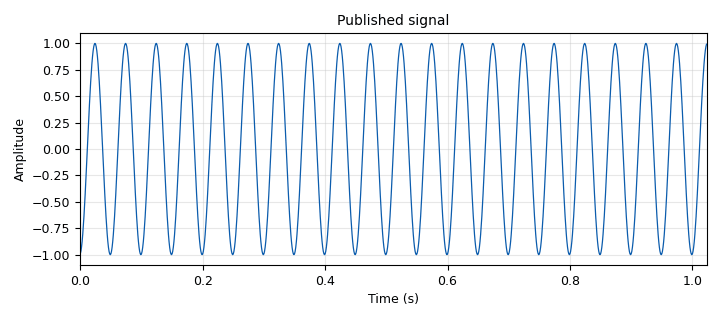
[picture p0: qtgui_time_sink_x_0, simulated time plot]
options:
  parameters:
    author: emmanuelkwakyenyantakyi
    generate_options: qt_gui
    id: ZMQ_unidirectional_3_4
    output_language: python
    title: ZeroMQ publish sink for streaming data to clients if connected
  states: {}

blocks:
- name: samp_rate
  id: variable
  parameters:
    value: '1000'
  states: {}
- name: analog_sig_source_x_0
  id: analog_sig_source_x
  parameters:
    amp: '1'
    freq: '20'
    offset: '0'
    phase: '0'
    samp_rate: samp_rate
    type: float
    waveform: analog.GR_COS_WAVE
  states: {}
- name: blocks_stream_to_vector_0
  id: blocks_stream_to_vector
  parameters:
    comment: |-
      num_items = 256
      vector_length = 1
    num_items: '256'
    type: float
  states: {}
- name: blocks_throttle2_0
  id: blocks_throttle2
  parameters:
    samples_per_second: samp_rate
    type: float
  states: {}
- name: blocks_vector_to_stream_0
  id: blocks_vector_to_stream
  parameters:
    num_items: '256'
    type: float
  states: {}
- name: qtgui_time_sink_x_0
  id: qtgui_time_sink_x
  parameters:
    autoscale: 'True'
    name: Published signal
    size: '1024'
    srate: samp_rate
    type: float
  states: {}
- name: qtgui_time_sink_x_0_0
  id: qtgui_time_sink_x
  parameters:
    autoscale: 'True'
    color1: red
    name: Received signal
    size: '1024'
    srate: samp_rate
    type: float
  states: {}
- name: zeromq_pub_sink_0
  id: zeromq_pub_sink
  parameters:
    address: tcp://127.0.0.1:5556
    timeout: '100'
    type: float
    vlen: '256'
  states: {}
- name: zeromq_sub_source_0
  id: zeromq_sub_source
  parameters:
    address: tcp://127.0.0.1:5556
    timeout: '100'
    type: float
    vlen: '256'
  states: {}

connections:
- [analog_sig_source_x_0, '0', blocks_throttle2_0, '0']
- [blocks_stream_to_vector_0, '0', zeromq_pub_sink_0, '0']
- [blocks_throttle2_0, '0', blocks_stream_to_vector_0, '0']
- [blocks_throttle2_0, '0', qtgui_time_sink_x_0, '0']
- [blocks_vector_to_stream_0, '0', qtgui_time_sink_x_0_0, '0']
- [zeromq_sub_source_0, '0', blocks_vector_to_stream_0, '0']

metadata:
  file_format: 1
  grc_version: 3.10.12.0
